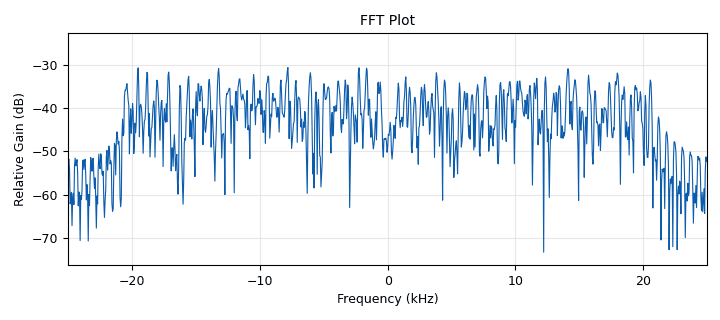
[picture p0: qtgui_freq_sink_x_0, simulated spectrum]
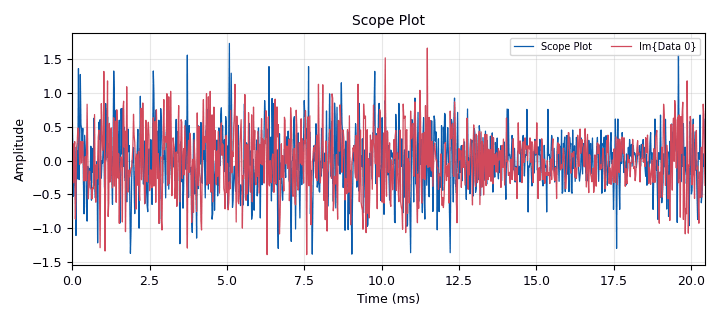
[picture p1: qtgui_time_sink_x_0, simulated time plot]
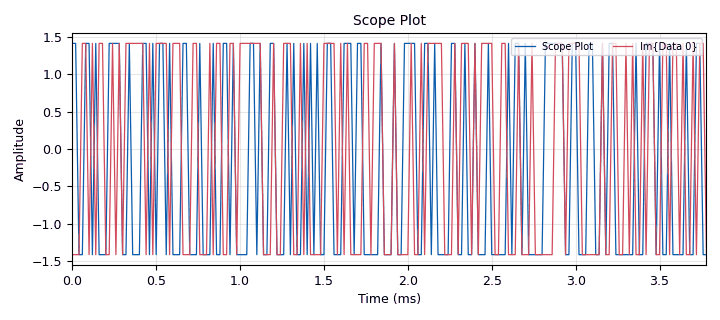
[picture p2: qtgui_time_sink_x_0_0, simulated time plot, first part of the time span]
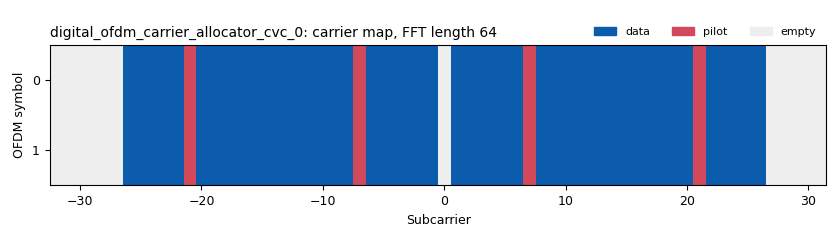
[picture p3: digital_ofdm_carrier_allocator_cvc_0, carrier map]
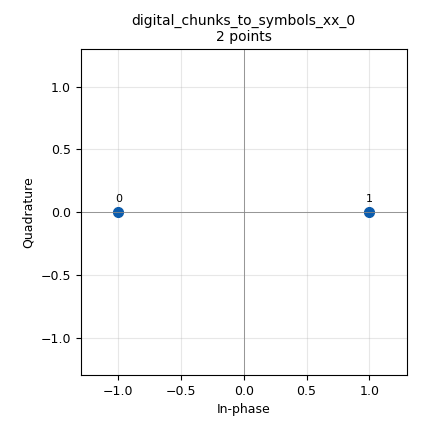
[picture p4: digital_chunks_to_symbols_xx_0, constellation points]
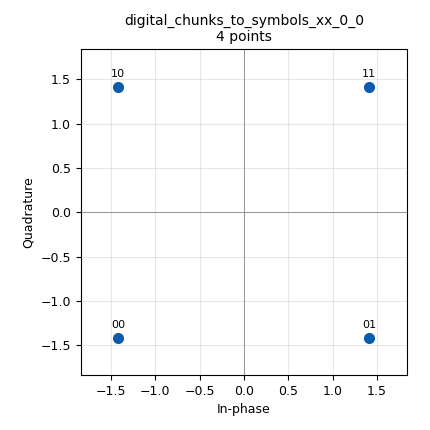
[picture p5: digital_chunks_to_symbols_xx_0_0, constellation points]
options:
  parameters:
    category: Custom
    description: Example of an OFDM Transmitter
    generate_options: qt_gui
    id: tx_ofdm_updated
    output_language: python
    run_options: run
    title: OFDM Tx
  states: {}

blocks:
- name: decoded_probe
  id: variable_function_probe
  parameters:
    block_id: blocks_probe_signal_x_4
    function_name: level
    poll_rate: '10'
    value: '0'
  states: {}
- name: fft_len
  id: variable
  parameters:
    value: '64'
  states: {}
- name: fft_len_0
  id: variable
  parameters:
    value: '64'
  states: {}
- name: hdr_format
  id: variable
  parameters:
    value: digital.header_format_ofdm(occupied_carriers, 1, length_tag_key,)
  states: {}
- name: header_equalizer
  id: variable
  parameters:
    value: digital.ofdm_equalizer_simpledfe(fft_len, header_mod.base(), occupied_carriers, pilot_carriers, pilot_symbols)
  states: {}
- name: header_formatter
  id: variable
  parameters:
    value: digital.packet_header_ofdm(occupied_carriers, n_syms=1, len_tag_key=packet_length_tag_key, frame_len_tag_key=length_tag_key, bits_per_header_sym=header_mod.bits_per_symbol(), bits_per_payload_sym=payload_mod.bits_per_symbol(), scramble_header=False)
  states: {}
- name: header_mod
  id: variable
  parameters:
    value: digital.constellation_bpsk()
  states: {}
- name: header_mod_0
  id: variable
  parameters:
    value: digital.constellation_bpsk()
  states: {}
- name: input_signal
  id: variable_function_probe
  parameters:
    block_id: blocks_probe_signal_x_2
    function_name: level
    poll_rate: '10'
    value: '0'
  states: {}
- name: length_tag_key
  id: variable
  parameters:
    value: '"packet_len"'
  states: {}
- name: length_tag_key_0
  id: variable
  parameters:
    value: '"frame_len"'
  states: {}
- name: occupied_carriers
  id: variable
  parameters:
    value: (list(range(-26, -21)) + list(range(-20, -7)) + list(range(-6, 0)) + list(range(1, 7)) + list(range(8, 21)) + list(range(22, 27)),)
  states: {}
- name: occupied_carriers_0
  id: variable
  parameters:
    value: (list(range(-26, -21)) + list(range(-20, -7)) + list(range(-6, 0)) + list(range(1, 7)) + list(range(8, 21)) + list(range(22, 27)),)
  states: {}
- name: og_signal_probe
  id: variable_function_probe
  parameters:
    block_id: blocks_probe_signal_x_0_0_0
    function_name: level
    poll_rate: '10'
    value: '0'
  states: {}
- name: output_signal
  id: variable_function_probe
  parameters:
    block_id: blocks_probe_signal_x_0_1
    function_name: level
    poll_rate: '10'
    value: '0'
  states: {}
- name: packet_len
  id: variable
  parameters:
    value: '96'
  states: {}
- name: packet_len_0
  id: variable
  parameters:
    value: '96'
  states: {}
- name: packet_length_tag_key
  id: variable
  parameters:
    value: '"packet_len"'
  states: {}
- name: payload_equalizer
  id: variable
  parameters:
    value: digital.ofdm_equalizer_simpledfe(fft_len, payload_mod.base(), occupied_carriers, pilot_carriers, pilot_symbols, 1)
  states: {}
- name: payload_mod
  id: variable
  parameters:
    value: digital.constellation_qpsk()
  states: {}
- name: payload_mod_0
  id: variable
  parameters:
    value: digital.constellation_qpsk()
  states: {}
- name: pilot_carriers
  id: variable
  parameters:
    value: ((-21, -7, 7, 21,),)
  states: {}
- name: pilot_carriers_0
  id: variable
  parameters:
    value: ((-21, -7, 7, 21,),)
  states: {}
- name: pilot_symbols
  id: variable
  parameters:
    value: ((1, 1, 1, -1,),)
  states: {}
- name: pilot_symbols_0
  id: variable
  parameters:
    value: ((1, 1, 1, -1,),)
  states: {}
- name: rolloff
  id: variable
  parameters:
    value: '0'
  states: {}
- name: rx_probe
  id: variable_function_probe
  parameters:
    block_id: blocks_probe_signal_x_3
    function_name: level
    poll_rate: '10'
    value: '0'
  states: {}
- name: samp_rate
  id: variable
  parameters:
    value: '50000'
  states: {}
- name: samp_rate_0
  id: variable
  parameters:
    value: '10000'
  states: {state: disabled}
- name: sync_word1
  id: variable
  parameters:
    value: '[0., 0., 0., 0., 0., 0., 0., 1.41421356, 0., -1.41421356, 0., 1.41421356, 0., -1.41421356, 0., -1.41421356, 0., -1.41421356, 0., 1.41421356, 0., -1.41421356, 0., 1.41421356, 0., -1.41421356, 0., -1.41421356, 0., -1.41421356, 0., -1.41421356, 0., 1.41421356, 0., -1.41421356, 0., 1.41421356, 0., 1.41421356, 0., 1.41421356, 0., -1.41421356, 0., 1.41421356, 0., 1.41421356, 0., 1.41421356, 0., -1.41421356, 0., 1.41421356, 0., 1.41421356, 0., 1.41421356, 0., 0., 0., 0., 0., 0.]'
  states: {}
- name: sync_word1_0
  id: variable
  parameters:
    value: '[0., 0., 0., 0., 0., 0., 0., 1.41421356, 0., -1.41421356, 0., 1.41421356, 0., -1.41421356, 0., -1.41421356, 0., -1.41421356, 0., 1.41421356, 0., -1.41421356, 0., 1.41421356, 0., -1.41421356, 0., -1.41421356, 0., -1.41421356, 0., -1.41421356, 0., 1.41421356, 0., -1.41421356, 0., 1.41421356, 0., 1.41421356, 0., 1.41421356, 0., -1.41421356, 0., 1.41421356, 0., 1.41421356, 0., 1.41421356, 0., -1.41421356, 0., 1.41421356, 0., 1.41421356, 0., 1.41421356, 0., 0., 0., 0., 0., 0.]'
  states: {}
- name: sync_word2
  id: variable
  parameters:
    value: '[0, 0, 0, 0, 0, 0, -1, -1, -1, -1, 1, 1, -1, -1, -1, 1, -1, 1, 1, 1, 1, 1, -1, -1, -1, -1, -1, 1, -1, -1, 1, -1, 0, 1, -1, 1, 1, 1, -1, 1, 1, 1, -1, 1, 1, 1, 1, -1, 1, -1, -1, -1, 1, -1, 1, -1, -1, -1, -1, 0, 0, 0, 0, 0] '
  states: {}
- name: sync_word2_0
  id: variable
  parameters:
    value: '[0j, 0j, 0j, 0j, 0j, 0j, (-1+0j), (-1+0j), (-1+0j), (-1+0j), (1+0j), (1+0j), (-1+0j), (-1+0j), (-1+0j), (1+0j), (-1+0j), (1+0j), (1+0j), (1 +0j), (1+0j), (1+0j), (-1+0j), (-1+0j), (-1+0j), (-1+0j), (-1+0j), (1+0j), (-1+0j), (-1+0j), (1+0j), (-1+0j), 0j, (1+0j), (-1+0j), (1+0j), (1+0j), (1+0j), (-1+0j), (1+0j), (1+0j), (1+0j), (-1+0j), (1+0j), (1+0j), (1+0j), (1+0j), (-1+0j), (1+0j), (-1+0j), (-1+0j), (-1+0j), (1+0j), (-1+0j), (1+0j), (-1+0j), (-1+0j), (-1+0j), (-1+0j), 0j, 0j, 0j, 0j, 0j]'
  states: {}
- name: tx_probe
  id: variable_function_probe
  parameters:
    block_id: blocks_probe_signal_x_0_0
    function_name: level
    poll_rate: '10'
    value: '0'
  states: {}
- name: analog_frequency_modulator_fc_0
  id: analog_frequency_modulator_fc
  parameters:
    sensitivity: '-2.0/fft_len'
  states: {}
- name: analog_random_source_x_0
  id: analog_random_source_x
  parameters:
    max: '255'
    min: '0'
    num_samps: '1000'
    repeat: 'True'
    type: byte
  states: {}
- name: blocks_delay_0
  id: blocks_delay
  parameters:
    delay: fft_len+fft_len//4
    type: complex
  states: {}
- name: blocks_multiply_const_vxx_0
  id: blocks_multiply_const_vxx
  parameters:
    const: '0.05'
    type: complex
  states: {}
- name: blocks_multiply_xx_0
  id: blocks_multiply_xx
  parameters:
    type: complex
  states: {}
- name: blocks_packed_to_unpacked_xx_0
  id: blocks_packed_to_unpacked_xx
  parameters:
    bits_per_chunk: '8'
    endianness: gr.GR_MSB_FIRST
    type: byte
  states: {state: disabled}
- name: blocks_probe_signal_x_0_0
  id: blocks_probe_signal_x
  parameters:
    type: complex
  states: {}
- name: blocks_probe_signal_x_0_0_0
  id: blocks_probe_signal_x
  parameters:
    type: complex
  states: {}
- name: blocks_probe_signal_x_0_1
  id: blocks_probe_signal_x
  parameters:
    type: byte
  states: {state: disabled}
- name: blocks_probe_signal_x_0_1
  id: blocks_probe_signal_x
  parameters:
    type: byte
  states: {}
- name: blocks_probe_signal_x_2
  id: blocks_probe_signal_x
  parameters:
    type: byte
  states: {}
- name: blocks_probe_signal_x_3
  id: blocks_probe_signal_x
  parameters:
    type: complex
  states: {}
- name: blocks_probe_signal_x_4
  id: blocks_probe_signal_x
  parameters:
    type: complex
  states: {}
- name: blocks_repack_bits_bb_0
  id: blocks_repack_bits_bb
  parameters:
    endianness: gr.GR_LSB_FIRST
    k: '8'
    l: payload_mod.bits_per_symbol()
    len_tag_key: length_tag_key
  states: {}
- name: blocks_repack_bits_bb_0_0
  id: blocks_repack_bits_bb
  parameters:
    endianness: gr.GR_LSB_FIRST
    k: '8'
    l: '1'
    len_tag_key: length_tag_key
  states: {}
- name: blocks_repack_bits_bb_0_1
  id: blocks_repack_bits_bb
  parameters:
    align_output: 'True'
    endianness: gr.GR_LSB_FIRST
    k: payload_mod.bits_per_symbol()
    l: '8'
    len_tag_key: packet_length_tag_key
  states: {}
- name: blocks_stream_to_tagged_stream_0
  id: blocks_stream_to_tagged_stream
  parameters:
    len_tag_key: length_tag_key
    packet_len: packet_len
    type: byte
  states: {}
- name: blocks_tag_debug_0
  id: blocks_tag_debug
  parameters:
    display: 'False'
    name: Rx'd Packets
    type: byte
  states: {state: disabled}
- name: blocks_tag_debug_1
  id: blocks_tag_debug
  parameters:
    name: Rx Bytes
    type: byte
  states: {}
- name: blocks_tag_gate_0
  id: blocks_tag_gate
  parameters:
    propagate_tags: 'False'
    type: complex
  states: {}
- name: blocks_tagged_stream_mux_0
  id: blocks_tagged_stream_mux
  parameters:
    lengthtagname: length_tag_key
    ninputs: '2'
    type: complex
  states: {}
- name: blocks_throttle_0
  id: blocks_throttle
  parameters:
    samples_per_second: samp_rate
    type: complex
  states: {}
- name: blocks_throttle_0_0
  id: blocks_throttle
  parameters:
    samples_per_second: samp_rate
    type: complex
  states: {}
- name: blocks_throttle_1
  id: blocks_throttle
  parameters:
    samples_per_second: samp_rate
    type: complex
  states: {state: disabled}
- name: channels_channel_model_0
  id: channels_channel_model
  parameters:
    block_tags: 'True'
    epsilon: '1.0'
    freq_offset: '0.0'
    noise_voltage: '0.15'
    seed: '0'
    taps: 1.0 + 1.0j
  states: {state: disabled}
- name: channels_channel_model_0_0
  id: channels_channel_model
  parameters:
    block_tags: 'True'
    epsilon: '1.0'
    freq_offset: 0 * 1.0/fft_len
    noise_voltage: '0.15'
    seed: '0'
    taps: 1.0 + 1.0j
  states: {}
- name: digital_chunks_to_symbols_xx_0
  id: digital_chunks_to_symbols_xx
  parameters:
    dimension: '1'
    in_type: byte
    out_type: complex
    symbol_table: header_mod.points()
  states: {}
- name: digital_chunks_to_symbols_xx_0_0
  id: digital_chunks_to_symbols_xx
  parameters:
    dimension: '1'
    in_type: byte
    out_type: complex
    symbol_table: payload_mod.points()
  states: {}
- name: digital_constellation_decoder_cb_0
  id: digital_constellation_decoder_cb
  parameters:
    constellation: header_mod.base()
  states: {}
- name: digital_constellation_decoder_cb_1
  id: digital_constellation_decoder_cb
  parameters:
    constellation: payload_mod.base()
  states: {}
- name: digital_crc32_bb_0
  id: digital_crc32_bb
  parameters:
    check: 'False'
    lengthtagname: length_tag_key
    packed: 'True'
  states: {}
- name: digital_crc32_bb_0_0
  id: digital_crc32_bb
  parameters:
    check: 'True'
    lengthtagname: packet_length_tag_key
    packed: 'True'
  states: {}
- name: digital_header_payload_demux_0
  id: digital_header_payload_demux
  parameters:
    guard_interval: fft_len//4
    header_len: '3'
    header_padding: '0'
    items_per_symbol: fft_len
    length_tag_key: length_tag_key
    output_symbols: 'True'
    samp_rate: samp_rate
    special_tags: ()
    timing_tag_key: '"rx_time"'
    type: complex
  states: {}
- name: digital_ofdm_carrier_allocator_cvc_0
  id: digital_ofdm_carrier_allocator_cvc
  parameters:
    fft_len: fft_len
    len_tag_key: length_tag_key
    occupied_carriers: occupied_carriers
    output_is_shifted: 'True'
    pilot_carriers: pilot_carriers
    pilot_symbols: pilot_symbols
    sync_words: (sync_word1, sync_word2)
  states: {}
- name: digital_ofdm_chanest_vcvc_0
  id: digital_ofdm_chanest_vcvc
  parameters:
    force_one_symbol: 'False'
    max_carr_offset: '3'
    n_data_symbols: '1'
    sync_symbol1: sync_word1
    sync_symbol2: sync_word2
  states: {}
- name: digital_ofdm_cyclic_prefixer_0
  id: digital_ofdm_cyclic_prefixer
  parameters:
    cp_len: fft_len//4
    input_size: fft_len
    rolloff: rolloff
    tagname: length_tag_key
  states: {}
- name: digital_ofdm_frame_equalizer_vcvc_0
  id: digital_ofdm_frame_equalizer_vcvc
  parameters:
    cp_len: fft_len//4
    equalizer: header_equalizer.base()
    fft_len: fft_len
    fixed_frame_len: '1'
    len_tag_key: length_tag_key
    propagate_channel_state: 'True'
  states: {}
- name: digital_ofdm_frame_equalizer_vcvc_1
  id: digital_ofdm_frame_equalizer_vcvc
  parameters:
    cp_len: fft_len//4
    equalizer: payload_equalizer.base()
    fft_len: fft_len
    len_tag_key: length_tag_key
    propagate_channel_state: 'True'
  states: {}
- name: digital_ofdm_rx_0
  id: digital_ofdm_rx
  parameters:
    cp_len: fft_len//4
    fft_len: fft_len
    header_mod: '"BPSK"'
    occupied_carriers: occupied_carriers
    packet_len_key: '"length"'
    payload_mod: '"QPSK"'
    pilot_carriers: pilot_carriers
    pilot_symbols: pilot_symbols
    sync_word1: sync_word1
    sync_word2: sync_word2
  states: {state: disabled}
- name: digital_ofdm_serializer_vcc_header
  id: digital_ofdm_serializer_vcc
  parameters:
    carr_offset_key: ''
    fft_len: fft_len
    len_tag_key: length_tag_key
    occupied_carriers: occupied_carriers
    packet_len_tag_key: ''
  states: {}
- name: digital_ofdm_serializer_vcc_payload
  id: digital_ofdm_serializer_vcc
  parameters:
    carr_offset_key: ''
    fft_len: fft_len
    len_tag_key: length_tag_key
    occupied_carriers: occupied_carriers
    packet_len_tag_key: packet_length_tag_key
    symbols_skipped: '1'
  states: {}
- name: digital_ofdm_sync_sc_cfb_0
  id: digital_ofdm_sync_sc_cfb
  parameters:
    cp_len: fft_len//4
    fft_len: fft_len
    threshold: '0.9'
  states: {}
- name: digital_packet_headerparser_b_0
  id: digital_packet_headerparser_b
  parameters:
    header_formatter: header_formatter.base()
  states: {}
- name: digital_protocol_formatter_bb_0
  id: digital_protocol_formatter_bb
  parameters:
    format: hdr_format
    len_tag_key: length_tag_key
  states: {}
- name: fft_vxx_0
  id: fft_vxx
  parameters:
    fft_size: fft_len
    forward: 'False'
    shift: 'True'
    type: complex
    window: ()
  states: {}
- name: fft_vxx_0_0
  id: fft_vxx
  parameters:
    fft_size: fft_len
    forward: 'True'
    shift: 'True'
    type: complex
    window: ()
  states: {}
- name: fft_vxx_1
  id: fft_vxx
  parameters:
    fft_size: fft_len
    forward: 'True'
    shift: 'True'
    type: complex
    window: ()
  states: {}
- name: header_bits
  id: virtual_sink
  parameters:
    stream_id: Header Bits
  states: {}
- name: import_1
  id: import
  parameters:
    imports: from gnuradio.digital.utils import tagged_streams
  states: {}
- name: qtgui_freq_sink_x_0
  id: qtgui_freq_sink_x
  parameters:
    autoscale: 'True'
    bw: samp_rate
    fc: '0'
    fftsize: '1024'
    name: FFT Plot
    showports: 'True'
    type: complex
    wintype: firdes.WIN_BLACKMAN_hARRIS
  states: {}
- name: qtgui_time_sink_x_0
  id: qtgui_time_sink_x
  parameters:
    autoscale: 'True'
    label1: Scope Plot
    label2: ''
    name: Scope Plot
    size: '1024'
    srate: samp_rate
    type: complex
  states: {}
- name: qtgui_time_sink_x_0_0
  id: qtgui_time_sink_x
  parameters:
    autoscale: 'True'
    label1: Scope Plot
    label2: ''
    name: Scope Plot
    size: '1024'
    srate: samp_rate
    type: complex
  states: {}
- name: virtual_sink_0
  id: virtual_sink
  parameters:
    stream_id: Time Domain
  states: {}
- name: virtual_sink_0_0
  id: virtual_sink
  parameters:
    stream_id: Payload Bits
  states: {}
- name: virtual_sink_0_0_0
  id: virtual_sink
  parameters:
    stream_id: Pre-OFDM
  states: {}
- name: virtual_sink_0_2
  id: virtual_sink
  parameters:
    stream_id: Header Stream
  states: {}
- name: virtual_sink_1
  id: virtual_sink
  parameters:
    stream_id: Tx Signal
  states: {}
- name: virtual_sink_1_0_0
  id: virtual_sink
  parameters:
    stream_id: Payload IQ
  states: {}
- name: virtual_sink_1_2
  id: virtual_sink
  parameters:
    stream_id: Payload Stream
  states: {}
- name: virtual_source_0
  id: virtual_source
  parameters:
    stream_id: Header Bits
  states: {}
- name: virtual_source_0_0
  id: virtual_source
  parameters:
    stream_id: Payload Bits
  states: {}
- name: virtual_source_0_0_0
  id: virtual_source
  parameters:
    stream_id: Pre-OFDM
  states: {}
- name: virtual_source_0_0_0_0
  id: virtual_source
  parameters:
    stream_id: Time Domain
  states: {}
- name: virtual_source_0_0_0_1
  id: virtual_source
  parameters:
    stream_id: Pre-OFDM
  states: {}
- name: virtual_source_0_0_1
  id: virtual_source
  parameters:
    stream_id: Payload IQ
  states: {}
- name: virtual_source_0_1
  id: virtual_source
  parameters:
    stream_id: Header Stream
  states: {}
- name: virtual_source_1
  id: virtual_source
  parameters:
    stream_id: Tx Signal
  states: {state: disabled}
- name: virtual_source_1_0
  id: virtual_source
  parameters:
    stream_id: Payload Stream
  states: {}
- name: virtual_source_1_1
  id: virtual_source
  parameters:
    stream_id: Tx Signal
  states: {}

connections:
- [analog_frequency_modulator_fc_0, '0', blocks_multiply_xx_0, '0']
- [analog_random_source_x_0, '0', blocks_probe_signal_x_2, '0']
- [analog_random_source_x_0, '0', blocks_stream_to_tagged_stream_0, '0']
- [blocks_delay_0, '0', blocks_multiply_xx_0, '1']
- [blocks_multiply_const_vxx_0, '0', blocks_tag_gate_0, '0']
- [blocks_multiply_xx_0, '0', digital_header_payload_demux_0, '0']
- [blocks_repack_bits_bb_0, '0', virtual_sink_0_0, '0']
- [blocks_repack_bits_bb_0_0, '0', header_bits, '0']
- [blocks_repack_bits_bb_0_1, '0', blocks_probe_signal_x_0_1, '0']
- [blocks_repack_bits_bb_0_1, '0', digital_crc32_bb_0_0, '0']
- [blocks_stream_to_tagged_stream_0, '0', digital_crc32_bb_0, '0']
- [blocks_tag_gate_0, '0', blocks_throttle_0, '0']
- [blocks_tagged_stream_mux_0, '0', virtual_sink_0_0_0, '0']
- [blocks_throttle_0, '0', blocks_probe_signal_x_0_0, '0']
- [blocks_throttle_0, '0', qtgui_freq_sink_x_0, '0']
- [blocks_throttle_0, '0', qtgui_time_sink_x_0, '0']
- [blocks_throttle_0, '0', virtual_sink_1, '0']
- [blocks_throttle_0_0, '0', blocks_delay_0, '0']
- [blocks_throttle_0_0, '0', blocks_probe_signal_x_3, '0']
- [blocks_throttle_0_0, '0', digital_ofdm_sync_sc_cfb_0, '0']
- [blocks_throttle_1, '0', digital_ofdm_rx_0, '0']
- [channels_channel_model_0, '0', blocks_throttle_1, '0']
- [channels_channel_model_0_0, '0', blocks_throttle_0_0, '0']
- [digital_chunks_to_symbols_xx_0, '0', blocks_tagged_stream_mux_0, '0']
- [digital_chunks_to_symbols_xx_0_0, '0', blocks_tagged_stream_mux_0, '1']
- [digital_constellation_decoder_cb_0, '0', digital_packet_headerparser_b_0, '0']
- [digital_constellation_decoder_cb_1, '0', blocks_repack_bits_bb_0_1, '0']
- [digital_crc32_bb_0, '0', blocks_repack_bits_bb_0, '0']
- [digital_crc32_bb_0, '0', digital_protocol_formatter_bb_0, '0']
- [digital_crc32_bb_0_0, '0', blocks_tag_debug_1, '0']
- [digital_header_payload_demux_0, '0', virtual_sink_0_2, '0']
- [digital_header_payload_demux_0, '1', virtual_sink_1_2, '0']
- [digital_ofdm_carrier_allocator_cvc_0, '0', fft_vxx_0, '0']
- [digital_ofdm_chanest_vcvc_0, '0', digital_ofdm_frame_equalizer_vcvc_0, '0']
- [digital_ofdm_cyclic_prefixer_0, '0', virtual_sink_0, '0']
- [digital_ofdm_frame_equalizer_vcvc_0, '0', digital_ofdm_serializer_vcc_header, '0']
- [digital_ofdm_frame_equalizer_vcvc_1, '0', digital_ofdm_serializer_vcc_payload, '0']
- [digital_ofdm_rx_0, '0', blocks_packed_to_unpacked_xx_0, '0']
- [digital_ofdm_rx_0, '0', blocks_tag_debug_0, '0']
- [digital_ofdm_serializer_vcc_header, '0', digital_constellation_decoder_cb_0, '0']
- [digital_ofdm_serializer_vcc_payload, '0', virtual_sink_1_0_0, '0']
- [digital_ofdm_sync_sc_cfb_0, '0', analog_frequency_modulator_fc_0, '0']
- [digital_ofdm_sync_sc_cfb_0, '1', digital_header_payload_demux_0, '1']
- [digital_packet_headerparser_b_0, header_data, digital_header_payload_demux_0, header_data]
- [digital_protocol_formatter_bb_0, '0', blocks_repack_bits_bb_0_0, '0']
- [fft_vxx_0, '0', digital_ofdm_cyclic_prefixer_0, '0']
- [fft_vxx_0_0, '0', digital_ofdm_chanest_vcvc_0, '0']
- [fft_vxx_1, '0', digital_ofdm_frame_equalizer_vcvc_1, '0']
- [virtual_source_0, '0', digital_chunks_to_symbols_xx_0, '0']
- [virtual_source_0_0, '0', digital_chunks_to_symbols_xx_0_0, '0']
- [virtual_source_0_0_0, '0', digital_ofdm_carrier_allocator_cvc_0, '0']
- [virtual_source_0_0_0_0, '0', blocks_multiply_const_vxx_0, '0']
- [virtual_source_0_0_0_1, '0', blocks_probe_signal_x_0_0_0, '0']
- [virtual_source_0_0_0_1, '0', qtgui_time_sink_x_0_0, '0']
- [virtual_source_0_0_1, '0', blocks_probe_signal_x_4, '0']
- [virtual_source_0_0_1, '0', digital_constellation_decoder_cb_1, '0']
- [virtual_source_0_1, '0', fft_vxx_0_0, '0']
- [virtual_source_1, '0', channels_channel_model_0, '0']
- [virtual_source_1_0, '0', fft_vxx_1, '0']
- [virtual_source_1_1, '0', channels_channel_model_0_0, '0']

metadata:
  file_format: 1
